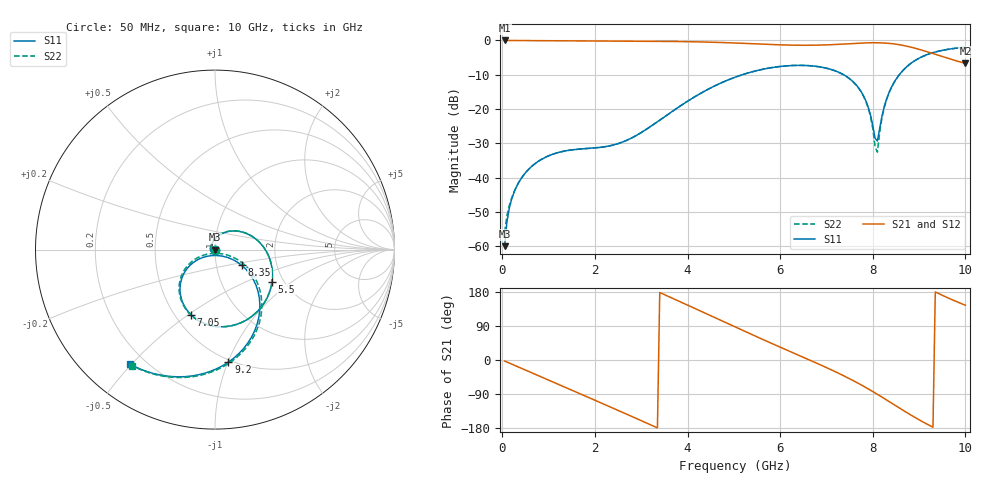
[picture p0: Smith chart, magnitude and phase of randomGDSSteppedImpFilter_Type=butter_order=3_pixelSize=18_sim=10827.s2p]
! freq	dB(S11)	phase(S11)	dB(S12)	phase(S12)
!  dB(S21)	phase(S21)	dB(S22)	phase(S22)
!S-par simulation data
#  GHz  S  DB  R 50
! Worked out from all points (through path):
!   200 points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, 50 MHz to 10 GHz, reference 50 ohm
!   highest |S21| = 0.00 dB at 50 MHz (marker M1); lowest = -6.7 dB at 10 GHz (marker M2)
!   group delay of S21, straight-line fit = 159 ps
!   lowest |S11| = -59.9 dB at 50 MHz (marker M3), VSWR 1.00, Z = 50 - j0.0957 ohm
!   |S11| at or under -10 dB: start of sweep to 5.178 GHz; 7.372 GHz to 8.573 GHz (1.201 GHz wide, 15.1 % of centre)
!   |S22| runs from -55.9 to -2.0 dB; largest |S21 - S12| = 0
!   S11 on the Smith chart (normalised r, x): 50 MHz: 1.00, -0.00; 5.5 GHz: 1.74, -0.72; 7.05 GHz: 0.60, -0.51; 8.35 GHz: 1.33, -0.24; 9.2 GHz: 0.48, -1.00; 10 GHz: 0.14, -0.50
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0.05  -59.92 -71.4  -0.00 -2.7  -0.00 -2.7  -55.85 -79.2
0.1  -52.81 -81.7  -0.01 -5.4  -0.01 -5.4  -51.04 -82.9
0.2  -46.36 -93.7  -0.02 -10.7  -0.02 -10.7  -45.94 -93.0
0.5  -38.54 -115.4  -0.04 -26.5  -0.04 -26.5  -38.55 -115.1
1.15  -32.87 -153.6  -0.08 -61.0  -0.08 -61.0  -32.86 -152.7
1.75  -31.55 172.2  -0.11 -92.8  -0.11 -92.8  -31.56 173.6
2.65  -29.30 121.8  -0.18 -141.0  -0.18 -141.0  -29.32 123.9
3.4  -23.21 83.1  -0.25 178.1  -0.25 178.1  -23.22 84.3
4.3  -15.27 35.6  -0.43 128.0  -0.43 128.0  -15.28 36.0
5.05  -10.59 -5.1  -0.75 85.9  -0.75 85.9  -10.59 -5.0
5.5  -8.77 -29.3  -1.01 61.0  -1.01 61.0  -8.77 -29.4
6.1  -7.44 -60.9  -1.32 28.5  -1.32 28.5  -7.44 -61.2
6.7  -7.42 -91.9  -1.39 -3.5  -1.39 -3.5  -7.43 -92.5
7.05  -8.25 -110.2  -1.27 -22.8  -1.27 -22.8  -8.26 -111.1
7.75  -14.93 -146.6  -0.77 -65.7  -0.77 -65.7  -15.01 -149.7
7.95  -21.67 -147.5  -0.68 -79.6  -0.68 -79.6  -22.09 -154.9
8.1  -29.28 -73.0  -0.67 -90.5  -0.67 -90.5  -32.55 -63.5
8.2  -21.96 -32.5  -0.71 -98.0  -0.71 -98.0  -22.38 -23.6
8.35  -15.22 -30.5  -0.85 -109.4  -0.85 -109.4  -15.30 -26.1
8.75  -7.46 -54.0  -1.72 -139.9  -1.72 -139.9  -7.47 -52.0
9.2  -3.99 -83.2  -3.40 -171.1  -3.40 -171.1  -3.99 -81.9
10  -1.99 -126.6  -6.69 144.5  -6.69 144.5  -1.99 -125.6
